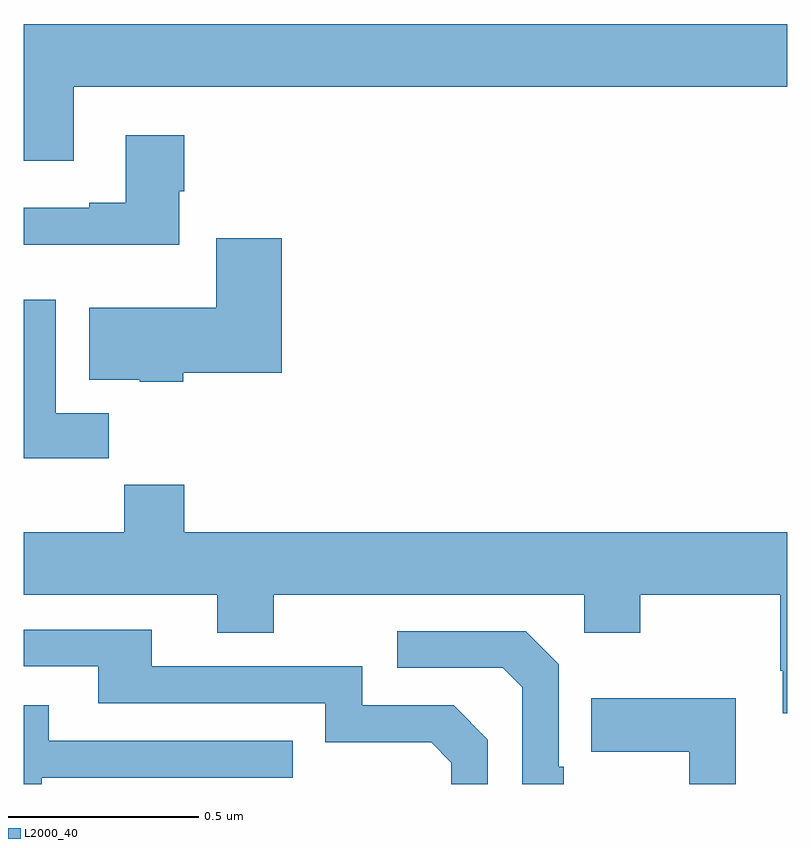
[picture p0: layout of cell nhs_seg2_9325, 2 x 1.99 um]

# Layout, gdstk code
import gdstk
lib = gdstk.Library(unit=1e-6, precision=1e-09)
def P(c, l, *ps):  # polygons
    for p in ps: c.add(gdstk.Polygon(p, *l))
L2000_40 = (2000, 40)

nhs_seg2_9325 = lib.new_cell('nhs_seg2_9325')
P(nhs_seg2_9325, L2000_40, [(227.131,655.628),(229,655.628),(229,655.792),(227,655.792),(227,655.434),(227.131,655.434)],
  [(227.407,655.353),(227.42,655.353),(227.42,655.501),(227.267,655.501),(227.267,655.324),(227.171,655.324),(227.171,655.311),(227,655.311),(227,655.214),(227.407,655.214)],
  [(227.418,654.878),(227.675,654.878),(227.675,655.231),(227.504,655.231),(227.504,655.048),(227.171,655.048),(227.171,654.86),(227.304,654.86),(227.304,654.854),(227.418,654.854)],
  [(227.222,654.772),(227.083,654.772),(227.083,655.069),(227,655.069),(227,654.654),(227.222,654.654)],
  [(229,654.46),(227.42,654.46),(227.42,654.584),(227.263,654.584),(227.263,654.46),(227,654.46),(227,654.296),(227.507,654.296),(227.507,654.197),(227.655,654.197),(227.655,654.296),(228.468,654.296),(228.468,654.197),(228.615,654.197),(228.615,654.296),(228.982,654.296),(228.982,654.097),(228.989,654.097),(228.989,653.985),(229,653.985)],
  [(228.216,653.916),(228.126,654.006),(227.886,654.006),(227.886,654.108),(227.335,654.108),(227.335,654.204),(227,654.204),(227,654.108),(227.195,654.108),(227.195,654.012),(227.79,654.012),(227.79,653.909),(228.067,653.909),(228.12,653.856),(228.12,653.8),(228.216,653.8)],
  [(228.415,653.845),(228.402,653.845),(228.402,654.114),(228.315,654.201),(227.979,654.201),(227.979,654.105),(228.255,654.105),(228.306,654.054),(228.306,653.8),(228.415,653.8)],
  [(228.865,654.025),(228.487,654.025),(228.487,653.885),(228.744,653.885),(228.744,653.8),(228.865,653.8)],
  [(227.046,653.817),(227.705,653.817),(227.705,653.913),(227.065,653.913),(227.065,654.007),(227,654.007),(227,653.8),(227.046,653.8)])

lib.write_gds('nhs_seg2_9325.gds')
